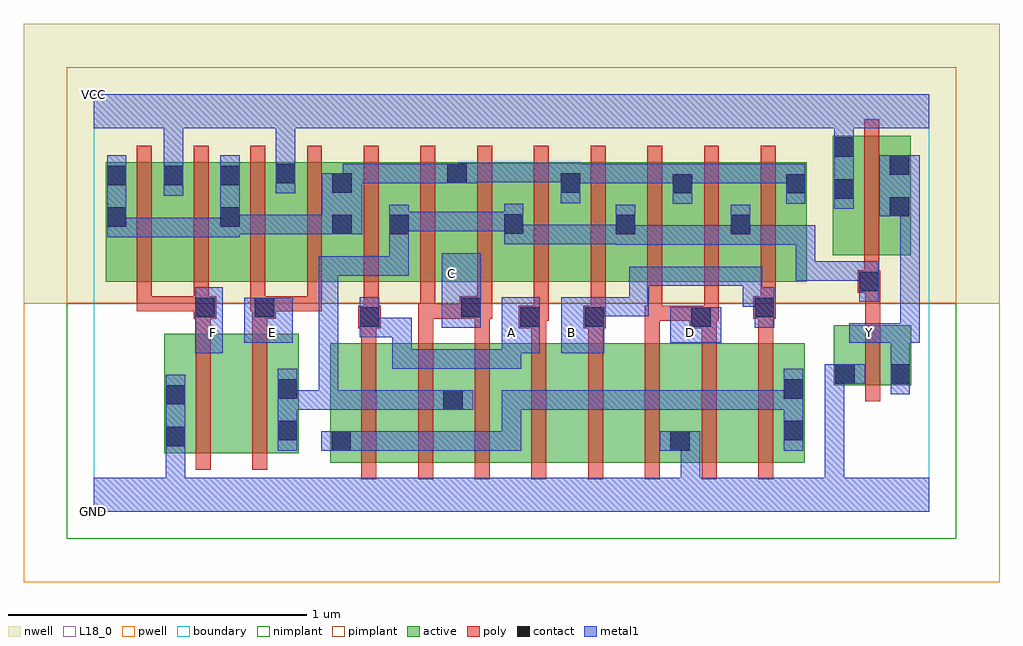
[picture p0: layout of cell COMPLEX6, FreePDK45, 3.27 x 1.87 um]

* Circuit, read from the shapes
.subckt COMPLEX6 A B C D E F GND VCC Y
M1 n1 F GND VSUBS nfet w=0.4u l=0.05u
M2 n2 E n1 VSUBS nfet w=0.4u l=0.05u
M3 n3 A n4 VSUBS nfet w=0.4u l=0.05u
M4 n2 C n3 VSUBS nfet w=0.4u l=0.05u
M5 n5 C n2 VSUBS nfet w=0.4u l=0.05u
M6 n6 A n5 VSUBS nfet w=0.4u l=0.05u
M7 n7 B n6 VSUBS nfet w=0.4u l=0.05u
M8 GND D n7 VSUBS nfet w=0.4u l=0.05u
M9 n8 D GND VSUBS nfet w=0.4u l=0.05u
M10 n4 B n8 VSUBS nfet w=0.4u l=0.05u
M11 Y n2 GND VSUBS nfet w=0.2u l=0.05u
M12 VCC F n9 n10 pfet w=0.4u l=0.05u m=2
M13 VCC E n9 n10 pfet w=0.4u l=0.05u m=2
M14 n2 A n9 n10 pfet w=0.4u l=0.05u m=2
M15 n9 C n2 n10 pfet w=0.4u l=0.05u m=2
M16 n2 B n9 n10 pfet w=0.4u l=0.05u m=2
M17 n9 D n2 n10 pfet w=0.4u l=0.05u m=2
M18 Y n2 VCC n10 pfet w=0.4u l=0.05u
.ends

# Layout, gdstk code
import gdstk
lib = gdstk.Library(unit=1e-6, precision=1e-09)
def R(c, l, rs):  # rectangles x0, y0, x1, y1
    for r in rs: c.add(gdstk.rectangle(r[:2], r[2:], *l))
def A(c, l, x, y, w, h, nx, ny, dx, dy):  # array of equal rectangles
    R(c, l, [(x+i*dx, y+j*dy, x+i*dx+w, y+j*dy+h) for i in range(nx) for j in range(ny)])
active = (1, 0)
pwell = (2, 0)
nwell = (3, 0)
nimplant = (4, 0)
pimplant = (5, 0)
poly = (9, 0)
contact = (10, 0)
metal1 = (11, 0)
L18_0 = (18, 0)
boundary = (235, 0)

complex6 = lib.new_cell('COMPLEX6')
R(complex6, active, [(0.792,0.165,1.017,0.565), (1.017,0.165,1.242,0.565), (1.167,0.165,1.397,0.565), (1.397,0.165,1.587,0.565), (1.587,0.165,1.777,0.565), (1.777,0.165,2.002,0.565), (1.927,0.165,2.157,0.565), (1.927,0.165,2.002,0.377), (2.157,0.165,2.382,0.565), (0.237,0.197,0.462,0.597), (0.237,0.197,0.312,0.597), (0.462,0.197,0.687,0.597), (0.792,0.2,0.867,0.565), (0.612,0.235,0.687,0.597), (2.307,0.235,2.382,0.565), (1.167,0.245,1.242,0.492), (2.48,0.425,2.555,0.625), (2.48,0.425,2.74,0.625), (2.665,0.425,2.74,0.625), (0.04,0.772,0.115,1.172), (0.04,0.772,0.305,1.172), (0.23,0.772,0.495,1.172), (0.42,0.772,0.68,1.172), (0.605,0.772,0.87,1.172), (0.795,0.772,1.06,1.172), (0.985,0.772,1.255,1.172), (1.18,0.772,1.445,1.172), (1.37,0.772,1.635,1.172), (1.56,0.772,1.82,1.172), (1.745,0.772,2.01,1.172), (1.935,0.772,2.205,1.172), (2.13,0.772,2.39,1.172), (2.315,0.772,2.39,1.155), (2.13,0.837,2.205,1.07), (2.477,0.86,2.552,1.26), (2.477,0.86,2.737,1.26), (2.662,0.86,2.737,1.2), (0.23,0.907,0.305,1.172), (0.42,0.907,0.495,1.165), (0.605,0.907,0.68,1.172), (0.795,0.907,0.87,1.155), (0.985,0.907,1.06,1.07), (1.18,0.907,1.255,1.172), (1.37,0.907,1.445,1.07), (1.56,0.907,1.635,1.155), (1.745,0.907,1.82,1.07), (1.935,0.907,2.01,1.155)])
R(complex6, pwell, [(-0.235,-0.235,3.035,0.7)])
R(complex6, nwell, [(-0.235,0.7,3.035,1.635)])
R(complex6, nimplant, [(-0.09,-0.09,2.89,0.7)])
R(complex6, pimplant, [(-0.09,0.7,2.89,1.49)])
A(complex6, poly, 0.897, 0.11, 0.05, 0.51, 8, 1, 0.19, 0)
A(complex6, poly, 1.475, 0.64, 0.05, 0.127, 4, 1, 0.19, 0)
A(complex6, poly, 0.145, 0.672, 0.05, 0.095, 4, 1, 0.19, 0)
A(complex6, poly, 0.145, 0.717, 0.05, 0.51, 12, 1, 0.19, 0)
R(complex6, poly, [(0.342,0.142,0.392,0.652), (0.532,0.142,0.582,0.652), (2.585,0.37,2.635,0.68), (0.897,0.57,0.947,0.665), (1.087,0.57,1.137,0.697), (1.277,0.57,1.327,0.697), (1.467,0.57,1.517,0.665), (1.657,0.57,1.707,0.665), (1.847,0.57,1.897,0.69), (2.037,0.57,2.087,0.665), (2.227,0.57,2.277,0.697), (0.342,0.602,0.392,0.697), (0.532,0.602,0.582,0.697), (0.887,0.615,0.962,0.69), (1.425,0.615,1.517,0.69), (1.64,0.615,1.715,0.69), (1.657,0.615,1.707,0.665), (1.657,0.615,1.707,0.665), (1.997,0.615,2.087,0.69), (2.585,0.63,2.635,0.785), (0.905,0.64,0.955,0.69), (0.905,0.64,0.955,0.69), (0.905,0.64,0.955,0.767), (1.467,0.64,1.517,0.69), (1.467,0.64,1.525,0.69), (1.847,0.64,1.905,0.69), (1.855,0.64,1.905,0.69), (1.855,0.64,1.905,0.69), (1.855,0.64,2.087,0.69), (2.037,0.64,2.087,0.69), (2.037,0.64,2.087,0.69), (2.037,0.64,2.087,0.69), (2.037,0.64,2.095,0.69), (0.335,0.647,0.41,0.722), (0.342,0.647,0.392,0.697), (0.342,0.647,0.392,0.697), (0.532,0.647,0.61,0.722), (1.087,0.647,1.145,0.697), (1.095,0.647,1.145,0.697), (1.095,0.647,1.145,0.697), (1.095,0.647,1.145,0.767), (1.095,0.647,1.277,0.697), (1.227,0.647,1.277,0.697), (1.227,0.647,1.277,0.697), (1.227,0.647,1.335,0.722), (1.277,0.647,1.327,0.697), (1.277,0.647,1.327,0.697), (2.21,0.647,2.285,0.722), (2.227,0.647,2.277,0.697), (2.227,0.647,2.277,0.697), (0.145,0.672,0.195,0.722), (0.145,0.672,0.385,0.722), (0.335,0.672,0.385,0.722), (0.335,0.672,0.385,0.722), (0.525,0.672,0.582,0.722), (0.532,0.672,0.582,0.722), (0.532,0.672,0.765,0.722), (0.715,0.672,0.765,0.722), (0.715,0.672,0.765,0.722), (0.715,0.672,0.765,0.722), (1.285,0.672,1.335,0.767), (2.235,0.672,2.285,0.767), (2.56,0.735,2.635,0.81), (2.585,0.735,2.635,0.785), (2.585,0.735,2.635,0.785), (2.582,0.76,2.632,0.855), (2.582,0.805,2.632,1.315)])
A(complex6, contact, 0.045, 1.095, 0.065, 0.065, 3, 1, 0.19, 0)
R(complex6, contact, [(0.797,0.205,0.862,0.27), (1.932,0.205,1.997,0.27), (0.242,0.22,0.307,0.285), (0.617,0.24,0.682,0.305), (2.312,0.24,2.377,0.305), (1.172,0.342,1.237,0.407), (0.242,0.36,0.307,0.425), (0.617,0.38,0.682,0.445), (2.312,0.38,2.377,0.445), (2.485,0.43,2.55,0.495), (2.67,0.43,2.735,0.495), (0.892,0.62,0.957,0.685), (1.43,0.62,1.495,0.685), (1.645,0.62,1.71,0.685), (2.002,0.62,2.067,0.685), (0.34,0.652,0.405,0.717), (0.54,0.652,0.605,0.717), (1.232,0.652,1.297,0.717), (2.215,0.652,2.28,0.717), (2.565,0.74,2.63,0.805), (0.8,0.93,0.865,0.995), (0.99,0.93,1.055,0.995), (1.75,0.93,1.815,0.995), (2.135,0.93,2.2,0.995), (1.375,0.932,1.44,0.997), (0.045,0.955,0.11,1.02), (0.425,0.955,0.49,1.02), (2.667,0.99,2.732,1.055), (2.482,1.05,2.547,1.115), (1.94,1.067,2.005,1.132), (2.32,1.067,2.385,1.132), (0.8,1.07,0.865,1.135), (1.565,1.07,1.63,1.135), (0.61,1.102,0.675,1.167), (1.185,1.102,1.25,1.167), (2.667,1.13,2.732,1.195), (2.482,1.19,2.547,1.255)])
R(complex6, metal1, [(0,0,2.8,0.115), (0.242,0.05,0.307,0.25), (1.967,0.05,2.032,0.27), (2.45,0.05,2.515,0.115), (2.45,0.05,2.515,0.115), (2.45,0.05,2.515,0.115), (2.45,0.05,2.515,0.115), (2.45,0.05,2.515,0.495), (0.242,0.185,0.307,0.46), (0.617,0.205,0.682,0.48), (0.762,0.205,0.897,0.27), (0.832,0.205,0.897,0.27), (0.832,0.205,0.897,0.27), (0.832,0.205,1.065,0.27), (1,0.205,1.065,0.27), (1,0.205,1.095,0.27), (1.03,0.205,1.095,0.27), (1.03,0.205,1.232,0.27), (1.167,0.205,1.232,0.27), (1.167,0.205,1.232,0.27), (1.167,0.205,1.232,0.27), (1.167,0.205,1.432,0.27), (1.367,0.205,1.432,0.27), (1.367,0.205,1.432,0.407), (1.897,0.205,2.032,0.27), (2.312,0.205,2.377,0.48), (0.617,0.342,0.682,0.407), (0.617,0.342,0.682,0.407), (0.617,0.342,0.82,0.407), (0.755,0.342,0.82,0.407), (0.755,0.342,0.82,0.407), (0.755,0.342,0.82,0.407), (0.755,0.342,1.037,0.407), (0.755,0.342,0.82,0.857), (0.972,0.342,1.037,0.407), (0.972,0.342,1.095,0.407), (1.03,0.342,1.095,0.407), (1.03,0.342,1.202,0.407), (1.137,0.342,1.272,0.407), (1.367,0.342,1.432,0.407), (1.367,0.342,1.432,0.407), (1.367,0.342,1.432,0.407), (1.367,0.342,1.577,0.407), (1.512,0.342,1.577,0.407), (1.512,0.342,1.577,0.407), (1.512,0.342,1.577,0.407), (1.512,0.342,1.767,0.407), (1.702,0.342,1.767,0.407), (1.702,0.342,1.86,0.407), (1.795,0.342,1.86,0.407), (1.795,0.342,2.005,0.407), (1.94,0.342,2.005,0.407), (1.94,0.342,2.005,0.407), (1.94,0.342,2.005,0.407), (1.94,0.342,2.142,0.407), (2.077,0.342,2.142,0.407), (2.077,0.342,2.142,0.407), (2.077,0.342,2.142,0.407), (2.077,0.342,2.377,0.407), (2.67,0.395,2.735,0.53), (2.45,0.43,2.585,0.495), (2.67,0.465,2.735,0.632), (1,0.48,1.095,0.545), (1,0.48,1.065,0.65), (1.03,0.48,1.095,0.545), (1.03,0.48,1.295,0.545), (1.23,0.48,1.295,0.545), (1.23,0.48,1.295,0.545), (1.23,0.48,1.295,0.545), (1.23,0.48,1.432,0.545), (1.367,0.48,1.432,0.597), (0.34,0.532,0.432,0.752), (1.367,0.532,1.432,0.597), (1.367,0.532,1.495,0.72), (1.567,0.532,1.71,0.72), (0.505,0.567,0.667,0.717), (1.932,0.567,2.102,0.685), (2.532,0.567,2.767,0.632), (2.702,0.567,2.767,1.055), (2.702,0.567,2.767,0.632), (2.702,0.567,2.767,0.632), (0.892,0.585,0.957,0.72), (0.892,0.585,1.065,0.65), (1.167,0.617,1.297,0.867), (2.215,0.617,2.28,0.752), (1.645,0.655,1.767,0.72), (1.702,0.655,1.767,0.72), (1.702,0.655,1.86,0.72), (1.795,0.655,1.86,0.822), (2.175,0.687,2.24,0.822), (2.175,0.687,2.28,0.752), (2.565,0.705,2.63,0.84), (1.795,0.757,1.997,0.822), (1.932,0.757,1.997,0.822), (1.932,0.757,1.997,0.822), (1.932,0.757,1.997,0.822), (1.932,0.757,2.24,0.822), (2.352,0.775,2.417,0.84), (2.352,0.775,2.417,0.942), (2.352,0.775,2.63,0.84), (0.755,0.792,0.82,0.857), (0.755,0.792,0.82,0.857), (0.755,0.792,0.82,0.857), (0.755,0.792,0.82,0.857), (0.755,0.792,0.82,0.857), (0.755,0.792,1.055,0.857), (0.99,0.792,1.055,0.857), (0.99,0.792,1.055,0.96), (2.352,0.877,2.417,0.942), (2.352,0.877,2.417,0.942), (2.352,0.877,2.417,0.96), (0.99,0.895,1.055,1.03), (1.75,0.895,1.815,1.03), (1.75,0.895,1.847,0.96), (1.782,0.895,1.847,0.96), (1.782,0.895,1.997,0.96), (1.932,0.895,1.997,0.96), (1.932,0.895,1.997,0.96), (1.932,0.895,1.997,0.96), (1.932,0.895,2.2,0.96), (2.135,0.895,2.2,0.96), (2.135,0.895,2.2,0.96), (2.135,0.895,2.2,1.03), (2.135,0.895,2.417,0.96), (1.375,0.897,1.44,0.962), (1.375,0.897,1.44,0.962), (1.375,0.897,1.44,1.032), (1.375,0.897,1.63,0.962), (1.565,0.897,1.63,0.962), (1.565,0.897,1.63,0.962), (1.565,0.897,1.63,0.962), (1.565,0.897,1.815,0.962), (0.045,0.92,0.11,0.985), (0.045,0.92,0.11,0.985), (0.045,0.92,0.11,1.195), (0.045,0.92,0.352,0.985), (0.287,0.92,0.352,0.985), (0.287,0.92,0.352,0.985), (0.287,0.92,0.352,0.985), (0.287,0.92,0.49,0.985), (0.425,0.92,0.49,1.195), (0.425,0.93,0.49,0.995), (0.425,0.93,0.49,0.995), (0.425,0.93,0.627,0.995), (0.562,0.93,0.627,0.995), (0.562,0.93,0.627,0.995), (0.562,0.93,0.627,0.995), (0.562,0.93,0.83,0.995), (0.765,0.93,0.9,1.135), (0.99,0.94,1.095,1.005), (1.03,0.94,1.095,1.005), (1.03,0.94,1.295,1.005), (1.23,0.94,1.295,1.005), (1.23,0.94,1.295,1.005), (1.23,0.94,1.295,1.005), (1.23,0.94,1.44,1.005), (2.632,0.99,2.767,1.195), (2.482,1.015,2.547,1.29), (1.94,1.032,2.005,1.167), (2.32,1.032,2.385,1.167), (1.565,1.035,1.63,1.17), (0.235,1.06,0.3,1.195), (0.61,1.067,0.675,1.202), (0.835,1.07,0.9,1.167), (0.835,1.102,0.9,1.167), (0.835,1.102,0.9,1.167), (0.835,1.102,0.9,1.167), (0.835,1.102,1.065,1.167), (1,1.102,1.065,1.167), (1,1.102,1.095,1.167), (1.03,1.102,1.095,1.167), (1.03,1.102,1.215,1.167), (1.15,1.102,1.285,1.167), (1.22,1.102,1.285,1.167), (1.22,1.102,1.285,1.17), (1.565,1.102,1.63,1.167), (1.565,1.102,1.63,1.167), (1.565,1.102,1.767,1.167), (1.702,1.102,1.767,1.167), (1.702,1.102,1.86,1.167), (1.795,1.102,1.86,1.167), (1.795,1.102,2.005,1.167), (1.94,1.102,2.005,1.167), (1.94,1.102,2.005,1.167), (1.94,1.102,2.24,1.167), (2.175,1.102,2.24,1.167), (2.175,1.102,2.24,1.167), (2.175,1.102,2.24,1.167), (2.175,1.102,2.385,1.167), (1.22,1.105,1.432,1.17), (1.367,1.105,1.432,1.17), (1.367,1.105,1.432,1.17), (1.367,1.105,1.432,1.17), (1.367,1.105,1.63,1.17), (0.235,1.13,0.3,1.35), (0.61,1.137,0.675,1.35), (2.482,1.225,2.547,1.35), (0,1.285,2.8,1.4)])
R(complex6, L18_0, [(0,0,2.8,0.115), (0.242,0.05,0.307,0.25), (1.967,0.05,2.032,0.27), (2.45,0.05,2.515,0.115), (2.45,0.05,2.515,0.115), (2.45,0.05,2.515,0.115), (2.45,0.05,2.515,0.115), (2.45,0.05,2.515,0.495), (0.242,0.185,0.307,0.46), (1.897,0.205,2.032,0.27), (2.67,0.395,2.735,0.53), (2.45,0.43,2.585,0.495), (2.67,0.465,2.735,0.632), (1,0.48,1.065,0.65), (1,0.48,1.095,0.545), (1.03,0.48,1.095,0.545), (1.03,0.48,1.295,0.545), (1.23,0.48,1.295,0.545), (1.23,0.48,1.295,0.545), (1.23,0.48,1.295,0.545), (1.23,0.48,1.432,0.545), (1.367,0.48,1.432,0.597), (0.34,0.532,0.432,0.752), (1.367,0.532,1.432,0.597), (1.367,0.532,1.495,0.72), (1.567,0.532,1.71,0.72), (0.367,0.567,0.432,0.632), (0.505,0.567,0.667,0.717), (0.567,0.567,0.632,0.632), (1.367,0.567,1.432,0.632), (1.567,0.567,1.632,0.632), (1.932,0.567,2.102,0.685), (1.967,0.567,2.032,0.632), (2.532,0.567,2.767,0.632), (2.567,0.567,2.632,0.632), (2.702,0.567,2.767,0.632), (2.702,0.567,2.767,0.632), (2.702,0.567,2.767,1.055), (0.892,0.585,0.957,0.72), (0.892,0.585,1.065,0.65), (1.167,0.617,1.297,0.867), (2.215,0.617,2.28,0.752), (1.645,0.655,1.767,0.72), (1.702,0.655,1.767,0.72), (1.702,0.655,1.86,0.72), (1.795,0.655,1.86,0.822), (2.175,0.687,2.24,0.822), (2.175,0.687,2.28,0.752), (1.795,0.757,1.997,0.822), (1.932,0.757,1.997,0.822), (1.932,0.757,1.997,0.822), (1.932,0.757,1.997,0.822), (1.932,0.757,2.24,0.822), (1.167,0.767,1.232,0.832), (2.632,0.99,2.767,1.195), (2.482,1.015,2.547,1.29), (0.235,1.06,0.3,1.195), (0.61,1.067,0.675,1.202), (0.235,1.13,0.3,1.35), (0.61,1.137,0.675,1.35), (2.482,1.225,2.547,1.35), (0,1.285,2.8,1.4)])
R(complex6, boundary, [(0,0,2.8,1.4)])
complex6.add(gdstk.Label('A', (1.4,0.6), layer=11, texttype=0))
complex6.add(gdstk.Label('B', (1.6,0.6), layer=11, texttype=0))
complex6.add(gdstk.Label('C', (1.2,0.8), layer=11, texttype=0))
complex6.add(gdstk.Label('D', (2,0.6), layer=11, texttype=0))
complex6.add(gdstk.Label('E', (0.6,0.6), layer=11, texttype=0))
complex6.add(gdstk.Label('F', (0.4,0.6), layer=11, texttype=0))
complex6.add(gdstk.Label('Y', (2.6,0.6), layer=11, texttype=0))
complex6.add(gdstk.Label('VCC', (0,1.4), layer=11, texttype=0))
complex6.add(gdstk.Label('GND', (0,0), layer=11, texttype=0))

lib.write_gds('COMPLEX6.gds')
